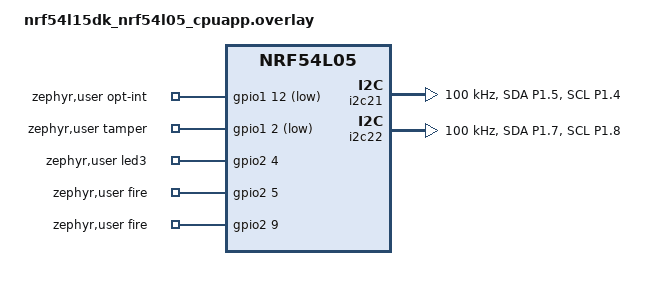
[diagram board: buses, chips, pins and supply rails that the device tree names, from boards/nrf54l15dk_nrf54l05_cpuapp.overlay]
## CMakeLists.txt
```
cmake_minimum_required(VERSION 3.20.0)

find_package(Zephyr REQUIRED HINTS $ENV{ZEPHYR_BASE})
project(opt3001_int_test LANGUAGES C CXX)

# The nPM2100 driver is shared with the main application, unmodified.
target_include_directories(app PRIVATE ../../src)
target_sources(app PRIVATE
  src/main.cpp
  ../../src/npm2100.cpp
  ../../src/npm2100_zephyr.cpp
)
```

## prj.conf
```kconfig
# OPT3001 interrupt test: INT above 7 lux asserts both fire pins.
#
# Minimal: I2C and logging. No BLE, no settings, no credentials.

CONFIG_CPP=y
CONFIG_STD_CPP20=y
CONFIG_REQUIRES_FULL_LIBCPP=y

CONFIG_GPIO=y
CONFIG_I2C=y

# The DK console UART (uart20) sits on P1.04 / P1.05 = the nPM2100 I2C bus here.
CONFIG_SERIAL=n
CONFIG_CONSOLE=n
CONFIG_UART_CONSOLE=n

# RTT logging (house style).
CONFIG_LOG=y
CONFIG_LOG_MODE_IMMEDIATE=y
CONFIG_USE_SEGGER_RTT=y
CONFIG_LOG_BACKEND_RTT=y
CONFIG_LOG_BACKEND_UART=n
```

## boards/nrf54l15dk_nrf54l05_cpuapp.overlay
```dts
/*
 * CLASS MFS_1 hardware, first full revision — OPT3001 interrupt test. INT P1.12 -> FIRE_1 (P2.05), FIRE_2 (P2.09).
 *
 *   I2C 1 (i2c21) - nPM2100 at 0x74:            SCL P1.04, SDA P1.05
 *   I2C 2 (i2c22) - ADXL367 0x1D, OPT3001 0x44:  SCL P1.08, SDA P1.07
 *   OPT3001_INT P1.12, open-drain active low
 *
 * i2c21 stops the nPM2100 boot monitor and powers up LSOUT at 1.8 V, as the main
 * application does, in case the sensors are supplied from it.
 */

&pinctrl {
    i2c21_default: i2c21_default {
        group1 {
            psels = <NRF_PSEL(TWIM_SDA, 1, 5)>,
                    <NRF_PSEL(TWIM_SCL, 1, 4)>;
            bias-pull-up;
        };
    };

    i2c21_sleep: i2c21_sleep {
        group1 {
            psels = <NRF_PSEL(TWIM_SDA, 1, 5)>,
                    <NRF_PSEL(TWIM_SCL, 1, 4)>;
            low-power-enable;
        };
    };

    i2c22_default: i2c22_default {
        group1 {
            psels = <NRF_PSEL(TWIM_SDA, 1, 7)>,
                    <NRF_PSEL(TWIM_SCL, 1, 8)>;
            bias-pull-up;
        };
    };

    i2c22_sleep: i2c22_sleep {
        group1 {
            psels = <NRF_PSEL(TWIM_SDA, 1, 7)>,
                    <NRF_PSEL(TWIM_SCL, 1, 8)>;
            low-power-enable;
        };
    };
};

&i2c21 {
    status = "okay";
    pinctrl-0 = <&i2c21_default>;
    pinctrl-1 = <&i2c21_sleep>;
    pinctrl-names = "default", "sleep";
    clock-frequency = <I2C_BITRATE_STANDARD>;
};

&i2c22 {
    status = "okay";
    pinctrl-0 = <&i2c22_default>;
    pinctrl-1 = <&i2c22_sleep>;
    pinctrl-names = "default", "sleep";
    clock-frequency = <I2C_BITRATE_STANDARD>;
};

/* Not fitted / pins reused on this board. P2.05 (spi00 CS) is FIRE_1. */
&mx25r64 {
    status = "disabled";
};

&spi00 {
    status = "disabled";
};

&uart20 {
    status = "disabled";
};

/ {
    zephyr,user {
        /* OPT3001 INT is open-drain, active low (POL = 0). */
        opt-int-gpios = <&gpio1 12 (GPIO_ACTIVE_LOW | GPIO_PULL_UP)>;
        /* ANTI_TAMP button arms (10 s delay) and disarms. Active low. */
        tamper-gpios = <&gpio1 2 (GPIO_ACTIVE_LOW | GPIO_PULL_UP)>;
        /* LED3: flashes during the arming delay, steady while armed. */
        led3-gpios = <&gpio2 4 GPIO_ACTIVE_HIGH>;
        /* Bench unit: LEDs on the fire pins. External 10k pull-downs. */
        fire-gpios = <&gpio2 5 GPIO_ACTIVE_HIGH>,
                     <&gpio2 9 GPIO_ACTIVE_HIGH>;
    };
};

/* P1.02 (ANTI_TAMP) is an NFC pin: release it to GPIO. */
&uicr {
    nfct-pins-as-gpios;
};
```

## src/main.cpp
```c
#include <zephyr/device.h>
#include <zephyr/drivers/gpio.h>
#include <zephyr/drivers/i2c.h>
#include <zephyr/dt-bindings/gpio/nordic-nrf-gpio.h>
#include <zephyr/kernel.h>
#include <zephyr/logging/log.h>

#include "npm2100.hpp"
#include "npm2100_zephyr.hpp"

LOG_MODULE_REGISTER(opt3001_int_test, LOG_LEVEL_INF);

namespace alc
{

  namespace
  {
    const struct device* const s_pmic_bus { DEVICE_DT_GET(DT_NODELABEL(i2c21)) };
    const struct device* const s_sensor_bus { DEVICE_DT_GET(DT_NODELABEL(i2c22)) };

    // OPT3001 (TI SBOS681), ADDR pin to GND.
    constexpr uint16_t M_OPT3001_ADDRESS { 0x44 };
    constexpr uint8_t M_REG_RESULT { 0x00 };
    constexpr uint8_t M_REG_CONFIG { 0x01 };
    constexpr uint8_t M_REG_LOW_LIMIT { 0x02 };
    constexpr uint8_t M_REG_HIGH_LIMIT { 0x03 };
    constexpr uint8_t M_REG_MANUFACTURER_ID { 0x7E };
    constexpr uint8_t M_REG_DEVICE_ID { 0x7F };
    constexpr uint16_t M_EXPECTED_MANUFACTURER_ID { 0x5449 }; // "TI".
    constexpr uint16_t M_EXPECTED_DEVICE_ID { 0x3001 };

    // RN = 1100 (automatic full-scale), CT = 0 (100 ms - for latency; no current cost in continuous mode, SBOS681C), M = 11 (continuous), L = 0
    // (transparent hysteresis: INT asserts above the high limit and releases below
    // the low limit), POL = 0 (INT active low), FC = 00 (one fault).
    constexpr uint16_t M_CONFIG_CONTINUOUS_HYSTERESIS { 0xC600 };
    constexpr uint16_t M_CONFIG_FLAG_HIGH_MASK { 0x0040 }; // FH.

    // Limits in result format, E = 0 so the register is centilux: 7.00 lux and 6.00 lux.
    // The 1 lux gap stops the INT pin chattering when the light sits on the threshold.
    constexpr uint16_t M_HIGH_LIMIT_CENTILUX { 700 };
    constexpr uint16_t M_LOW_LIMIT_CENTILUX { 600 };
    constexpr uint16_t M_CONFIG_READY_MASK { 0x0080 };    // CRF.
    constexpr uint16_t M_CONFIG_OVERFLOW_MASK { 0x0100 }; // OVF.

    constexpr uint8_t M_RESULT_EXPONENT_SHIFT { 12 };
    constexpr uint16_t M_RESULT_MANTISSA_MASK { 0x0FFF };
    constexpr uint32_t M_CENTILUX_PER_LUX { 100 };

    // I2C addresses scanned on the sensor bus: the 7-bit range outside the reserved blocks.
    constexpr uint16_t M_SCAN_FIRST_ADDRESS { 0x08 };
    constexpr uint16_t M_SCAN_LAST_ADDRESS { 0x77 };

    constexpr uint16_t M_LSOUT_MILLIVOLTS { 1800 };
    constexpr int32_t M_LSOUT_DISCHARGE_MS { 50 };
    constexpr int32_t M_SENSOR_POWER_ON_MS { 20 };
    constexpr int32_t M_READ_INTERVAL_MS { 1000 };

    // Fire gate drive, as the main firmware arms with (2026-11-12): boost at its 3.3 V
    // maximum and high-drive pins. The STL8DN6LF3 gates are only partly on at ~3.0 V.
    constexpr uint16_t M_BOOST_MILLIVOLTS { 3300 };
    constexpr int32_t M_BOOST_SETTLE_MS { 20 };
    constexpr gpio_flags_t M_FIRE_DRIVE { NRF_GPIO_DRIVE_H0H1 };
    constexpr float M_MILLIVOLTS_PER_VOLT { 1000.0f };
    constexpr int32_t M_FIRE_STAGGER_MS { 10 };

    const gpio_dt_spec s_opt_int = GPIO_DT_SPEC_GET(DT_PATH(zephyr_user), opt_int_gpios);
    const gpio_dt_spec s_fire_1  = GPIO_DT_SPEC_GET_BY_IDX(DT_PATH(zephyr_user), fire_gpios, 0);
    const gpio_dt_spec s_fire_2  = GPIO_DT_SPEC_GET_BY_IDX(DT_PATH(zephyr_user), fire_gpios, 1);
    const gpio_dt_spec s_tamper  = GPIO_DT_SPEC_GET(DT_PATH(zephyr_user), tamper_gpios);
    const gpio_dt_spec s_led3    = GPIO_DT_SPEC_GET(DT_PATH(zephyr_user), led3_gpios);

    // Bench arming: a press of ANTI_TAMP starts M_ARM_DELAY_MS, then the light
    // interrupt may fire. A press while arming or armed disarms.
    enum class BenchArm : uint8_t { Disarmed, Arming, Armed };

    constexpr int64_t M_ARM_DELAY_MS { 10000 };
    constexpr int64_t M_MS_PER_SECOND { 1000 };
    constexpr int32_t M_POLL_INTERVAL_MS { 10 };
    constexpr uint8_t M_DEBOUNCE_SAMPLES { 3 };
    constexpr int64_t M_ARMING_FLASH_HALF_PERIOD_MS { 250 };

    gpio_callback s_opt_int_callback;
    K_SEM_DEFINE(s_opt_int_event, 0, 1);

    void onOptInterrupt(const struct device* port, gpio_callback* callback, uint32_t pins)
    {
      ARG_UNUSED(port);
      ARG_UNUSED(callback);
      ARG_UNUSED(pins);
      k_sem_give(&s_opt_int_event);
    }

    // FIRE_1, then FIRE_2 M_FIRE_STAGGER_MS later. The pins become outputs only here.
    void assertFire()
    {
      int result { gpio_pin_configure_dt(&s_fire_1, GPIO_OUTPUT_ACTIVE | M_FIRE_DRIVE) };

      k_msleep(M_FIRE_STAGGER_MS);
      if (result == 0) { result = gpio_pin_configure_dt(&s_fire_2, GPIO_OUTPUT_ACTIVE | M_FIRE_DRIVE); }
      if (result < 0) {
        LOG_ERR("Fire assert failed: %d!", result);
        return;
      }
      LOG_INF("FIRE asserted: FIRE_1, then FIRE_2 10 ms later.");
    }

    // Both low together, then back to undriven so only the pull-downs hold them.
    void clearFire()
    {
      int result { gpio_pin_configure_dt(&s_fire_1, GPIO_OUTPUT_INACTIVE | M_FIRE_DRIVE) };

      if (result == 0) { result = gpio_pin_configure_dt(&s_fire_2, GPIO_OUTPUT_INACTIVE | M_FIRE_DRIVE); }
      if (result == 0) { result = gpio_pin_configure_dt(&s_fire_1, GPIO_DISCONNECTED); }
      if (result == 0) { result = gpio_pin_configure_dt(&s_fire_2, GPIO_DISCONNECTED); }
      if (result < 0) {
        LOG_ERR("Fire clear failed: %d!", result);
        return;
      }
      LOG_INF("FIRE cleared.");
    }

    int configureInterruptPin()
    {
      int result { 0 };

      if (!gpio_is_ready_dt(&s_opt_int) || !gpio_is_ready_dt(&s_fire_1)) {
        LOG_ERR("GPIO port not ready!");
        return -ENODEV;
      }

      result = gpio_pin_configure_dt(&s_opt_int, GPIO_INPUT);
      if (result == 0) { result = gpio_pin_interrupt_configure_dt(&s_opt_int, GPIO_INT_EDGE_BOTH); }
      if (result < 0) {
        LOG_ERR("OPT3001 INT pin setup failed: %d!", result);
        return result;
      }

      gpio_init_callback(&s_opt_int_callback, onOptInterrupt, BIT(s_opt_int.pin));
      return gpio_add_callback_dt(&s_opt_int, &s_opt_int_callback);
    }

    int readRegister(uint8_t reg, uint16_t& value)
    {
      uint8_t buffer[2] { 0, 0 };
      int result { i2c_write_read(s_sensor_bus, M_OPT3001_ADDRESS, &reg, sizeof(reg), buffer, sizeof(buffer)) };

      if (result < 0) { return result; }
      value = static_cast<uint16_t>((buffer[0] << 8) | buffer[1]);
      return 0;
    }

    int writeRegister(uint8_t reg, uint16_t value)
    {
      const uint8_t buffer[3] { reg, static_cast<uint8_t>(value >> 8), static_cast<uint8_t>(value & 0xFF) };

      return i2c_write(s_sensor_bus, buffer, sizeof(buffer), M_OPT3001_ADDRESS);
    }

    // Stops the boot monitor, power-cycles LSOUT to 1.8 V as App::initPmic() does, then raises the boost to 3.3 V.
    int initPmic(Npm2100& pmic)
    {
      int result { pmic.Init() };

      if (result < 0) {
        LOG_ERR("nPM2100 init failed: %d!", result);
        return result;
      }

      result = pmic.TimerStop();
      if (result < 0) {
        LOG_ERR("Failed to stop the nPM2100 boot monitor: %d!", result);
        return result;
      }
      LOG_INF("nPM2100 boot monitor stopped.");

      result = pmic.LdoSwDisable();
      if (result < 0) {
        LOG_ERR("Failed to disable LSOUT: %d!", result);
        return result;
      }
      k_msleep(M_LSOUT_DISCHARGE_MS);

      result = pmic.LdoSwSetOutputMode(Npm2100::LdoSwOutputMode::Ldo);
      if (result == 0) { result = pmic.LdoSwSetVoltage(M_LSOUT_MILLIVOLTS); }
      if (result == 0) { result = pmic.LdoSwSetPowerMode(Npm2100::LdoSwPowerMode::Hp); }
      if (result == 0) { result = pmic.LdoSwEnable(); }
      if (result < 0) {
        LOG_ERR("Failed to bring up LSOUT: %d!", result);
        return result;
      }
      k_msleep(M_SENSOR_POWER_ON_MS);

      LOG_INF("LSOUT up at %u mV.", M_LSOUT_MILLIVOLTS);

      float voutVolts { 0.0f };

      result = pmic.BoostSetVoltage(M_BOOST_MILLIVOLTS);
      if (result < 0) {
        LOG_ERR("Failed to set boost to %u mV: %d!", M_BOOST_MILLIVOLTS, result);
        return result;
      }
      k_msleep(M_BOOST_SETTLE_MS);

      result = pmic.AdcReadVout(voutVolts);
      if (result < 0) {
        LOG_ERR("VOUT read failed: %d!", result);
        return result;
      }
      LOG_INF("Boost set to %u mV, VOUT %d mV (fire pins high drive).", M_BOOST_MILLIVOLTS, static_cast<int>(voutVolts * M_MILLIVOLTS_PER_VOLT));
      return 0;
    }

    void scanSensorBus()
    {
      uint8_t probe { 0 };
      uint8_t found { 0 };

      for (uint16_t address = M_SCAN_FIRST_ADDRESS; address <= M_SCAN_LAST_ADDRESS; address++) {
        if (i2c_read(s_sensor_bus, &probe, sizeof(probe), address) == 0) {
          LOG_INF("i2c22: device answered at 0x%02x.", address);
          found++;
        }
      }
      LOG_INF("i2c22 scan complete: %u device(s).", found);
    }

    int run()
    {
      uint16_t manufacturerId { 0 };
      uint16_t deviceId { 0 };
      uint16_t config { 0 };
      uint16_t raw { 0 };
      uint32_t centilux { 0 };
      int result { 0 };
      bool fireOn { false };
      bool intAsserted { false };
      bool pressed { false };
      uint8_t stableCount { 0 };
      BenchArm armState { BenchArm::Disarmed };
      int64_t armDeadlineMs { 0 };
      int64_t nextLogMs { 0 };

      if (!device_is_ready(s_pmic_bus) || !device_is_ready(s_sensor_bus)) {
        LOG_ERR("I2C bus not ready!");
        return -ENODEV;
      }

      LOG_INF("OPT3001 test boot.");

      Npm2100 pmic { npm2100_zephyr::MakeZephyrTransport(s_pmic_bus) };
      // Carry on regardless: the OPT3001 may not be on LSOUT, and the log shows what failed.
      initPmic(pmic);

      scanSensorBus();

      result = readRegister(M_REG_MANUFACTURER_ID, manufacturerId);
      if (result == 0) { result = readRegister(M_REG_DEVICE_ID, deviceId); }
      if (result < 0) {
        LOG_ERR("OPT3001 not answering at 0x%02x: %d!", M_OPT3001_ADDRESS, result);
        return result;
      }
      LOG_INF("OPT3001 manufacturer ID 0x%04x (%s), device ID 0x%04x (%s).", manufacturerId,
              manufacturerId == M_EXPECTED_MANUFACTURER_ID ? "OK" : "UNEXPECTED", deviceId, deviceId == M_EXPECTED_DEVICE_ID ? "OK" : "UNEXPECTED");

      result = configureInterruptPin();
      if (result < 0) { return result; }

      result = gpio_pin_configure_dt(&s_tamper, GPIO_INPUT);
      if (result == 0) { result = gpio_pin_configure_dt(&s_led3, GPIO_OUTPUT_INACTIVE); }
      if (result < 0) {
        LOG_ERR("Button / LED3 setup failed: %d!", result);
        return result;
      }

      result = writeRegister(M_REG_LOW_LIMIT, M_LOW_LIMIT_CENTILUX);
      if (result == 0) { result = writeRegister(M_REG_HIGH_LIMIT, M_HIGH_LIMIT_CENTILUX); }
      if (result == 0) { result = writeRegister(M_REG_CONFIG, M_CONFIG_CONTINUOUS_HYSTERESIS); }
      if (result < 0) {
        LOG_ERR("OPT3001 config write failed: %d!", result);
        return result;
      }
      LOG_INF("OPT3001 configured: continuous, auto range, 100 ms conversions, INT above %u lux, released below %u lux.",
              M_HIGH_LIMIT_CENTILUX / M_CENTILUX_PER_LUX, M_LOW_LIMIT_CENTILUX / M_CENTILUX_PER_LUX);

      // Pick up the level as it stands: the first conversion completes ~110 ms after configuring.
      k_sem_give(&s_opt_int_event);

      LOG_INF("DISARMED. Press ANTI_TAMP to arm: %lld s delay, then light above 7 lux fires. Press again to disarm.",
              M_ARM_DELAY_MS / M_MS_PER_SECOND);

      while (true) {
        int64_t nowMs { k_uptime_get() };

        // The light interrupt: tracked in every state, acted on only when armed.
        if (k_sem_take(&s_opt_int_event, K_NO_WAIT) == 0) {
          intAsserted = (gpio_pin_get_dt(&s_opt_int) == 1);
          LOG_INF("OPT3001 INT %s (pin raw %d).", intAsserted ? "ASSERTED" : "released", gpio_pin_get_raw(s_opt_int.port, s_opt_int.pin));
        }

        // ANTI_TAMP, debounced: a press arms when disarmed, and disarms otherwise.
        result = gpio_pin_get_dt(&s_tamper);
        if (result >= 0) {
          bool level { result == 1 };

          if (level == pressed) {
            stableCount = 0;
          } else if (++stableCount >= M_DEBOUNCE_SAMPLES) {
            pressed     = level;
            stableCount = 0;
            if (pressed && armState == BenchArm::Disarmed) {
              armState      = BenchArm::Arming;
              armDeadlineMs = nowMs + M_ARM_DELAY_MS;
              LOG_INF("ARMING: %lld s to cover the sensor.", M_ARM_DELAY_MS / M_MS_PER_SECOND);
            } else if (pressed) {
              armState = BenchArm::Disarmed;
              LOG_INF("DISARMED by button.");
            }
          }
        }

        if (armState == BenchArm::Arming && nowMs >= armDeadlineMs) {
          armState = BenchArm::Armed;
          LOG_INF("ARMED: light above 7 lux now fires (INT currently %s).", intAsserted ? "ASSERTED - firing" : "released");
        }

        // The output: fire only while armed AND the interrupt is asserted.
        bool wantFire { armState == BenchArm::Armed && intAsserted };
        if (wantFire != fireOn) {
          fireOn = wantFire;
          if (fireOn) {
            assertFire();
          } else {
            clearFire();
          }
        }

        // LED3: off disarmed, flashing while arming, steady armed.
        if (armState == BenchArm::Arming) {
          gpio_pin_set_dt(&s_led3, ((nowMs / M_ARMING_FLASH_HALF_PERIOD_MS) % 2) == 0);
        } else {
          gpio_pin_set_dt(&s_led3, armState == BenchArm::Armed);
        }

        if (nowMs >= nextLogMs) {
          nextLogMs = nowMs + M_READ_INTERVAL_MS;
          result    = readRegister(M_REG_CONFIG, config);
          if (result == 0) { result = readRegister(M_REG_RESULT, raw); }
          if (result < 0) {
            LOG_ERR("OPT3001 read failed: %d!", result);
          } else {
            // lux = 0.01 x 2^E x R, so centilux = R << E.
            centilux = static_cast<uint32_t>(raw & M_RESULT_MANTISSA_MASK) << (raw >> M_RESULT_EXPONENT_SHIFT);
            LOG_INF("Light %u.%02u lux, %s, fire %s.", centilux / M_CENTILUX_PER_LUX, centilux % M_CENTILUX_PER_LUX,
                    armState == BenchArm::Armed ? "ARMED" : (armState == BenchArm::Arming ? "arming" : "disarmed"), fireOn ? "ON" : "off");
          }
        }

        k_msleep(M_POLL_INTERVAL_MS);
      }

      return 0;
    }
  }

}

int main()
{ return alc::run(); }
```
